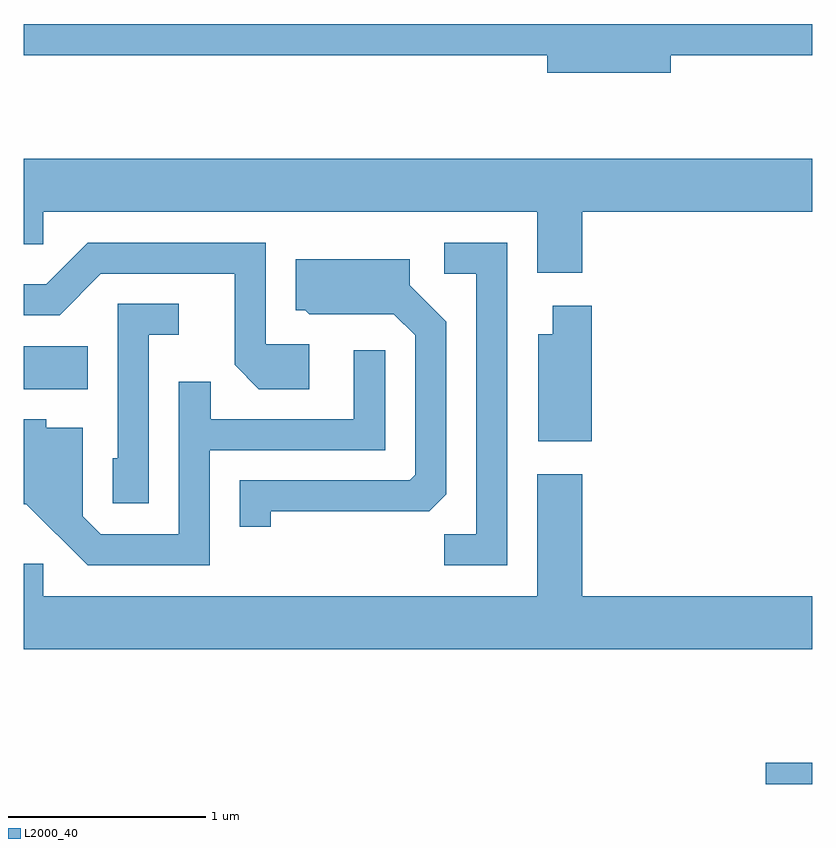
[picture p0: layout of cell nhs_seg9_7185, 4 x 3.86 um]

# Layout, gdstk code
import gdstk
lib = gdstk.Library(unit=1e-6, precision=1e-09)
def R(c, l, rs):  # rectangles x0, y0, x1, y1
    for r in rs: c.add(gdstk.rectangle(r[:2], r[2:], *l))
def P(c, l, *ps):  # polygons
    for p in ps: c.add(gdstk.Polygon(p, *l))
L2000_40 = (2000, 40)

nhs_seg9_7185 = lib.new_cell('nhs_seg9_7185')
R(nhs_seg9_7185, L2000_40, [(401.376,2024.432,401.611,2024.539), (397.611,2026.436,397.934,2026.654)])
P(nhs_seg9_7185, L2000_40, [(400.894,2028.131),(401.611,2028.131),(401.611,2028.289),(397.611,2028.289),(397.611,2028.131),(400.266,2028.131),(400.266,2028.041),(400.894,2028.041)],
  [(400.444,2027.336),(401.611,2027.336),(401.611,2027.604),(397.611,2027.604),(397.611,2027.171),(397.709,2027.171),(397.709,2027.336),(400.216,2027.336),(400.216,2027.026),(400.444,2027.026)],
  [(400.064,2027.179),(399.743,2027.179),(399.743,2027.021),(399.906,2027.021),(399.906,2025.699),(399.743,2025.699),(399.743,2025.541),(400.064,2025.541)],
  [(399.059,2026.664),(398.839,2026.664),(398.839,2027.179),(397.934,2027.179),(397.724,2026.969),(397.611,2026.969),(397.611,2026.811),(397.792,2026.811),(398.002,2027.021),(398.681,2027.021),(398.681,2026.559),(398.804,2026.436),(399.059,2026.436)],
  [(398.864,2025.816),(399.669,2025.816),(399.754,2025.902),(399.754,2026.777),(399.569,2026.962),(399.569,2027.094),(398.991,2027.094),(398.991,2026.836),(399.039,2026.836),(399.059,2026.816),(399.489,2026.816),(399.596,2026.709),(399.596,2026.002),(399.569,2025.974),(398.706,2025.974),(398.706,2025.738),(398.864,2025.738)],
  [(398.244,2026.711),(398.398,2026.711),(398.398,2026.869),(398.086,2026.869),(398.086,2026.084),(398.061,2026.084),(398.061,2025.856),(398.244,2025.856)],
  [(400.494,2026.859),(400.296,2026.859),(400.296,2026.714),(400.221,2026.714),(400.221,2026.171),(400.494,2026.171)],
  [(398.554,2026.126),(399.444,2026.126),(399.444,2026.633),(399.286,2026.633),(399.286,2026.284),(398.559,2026.284),(398.559,2026.473),(398.396,2026.473),(398.396,2025.699),(398.002,2025.699),(397.909,2025.792),(397.909,2026.239),(397.724,2026.239),(397.724,2026.284),(397.611,2026.284),(397.611,2025.851),(397.624,2025.851),(397.934,2025.541),(398.554,2025.541)],
  [(401.611,2025.384),(400.444,2025.384),(400.444,2026.004),(400.216,2026.004),(400.216,2025.384),(397.709,2025.384),(397.709,2025.549),(397.611,2025.549),(397.611,2025.116),(401.611,2025.116)])

lib.write_gds('nhs_seg9_7185.gds')
